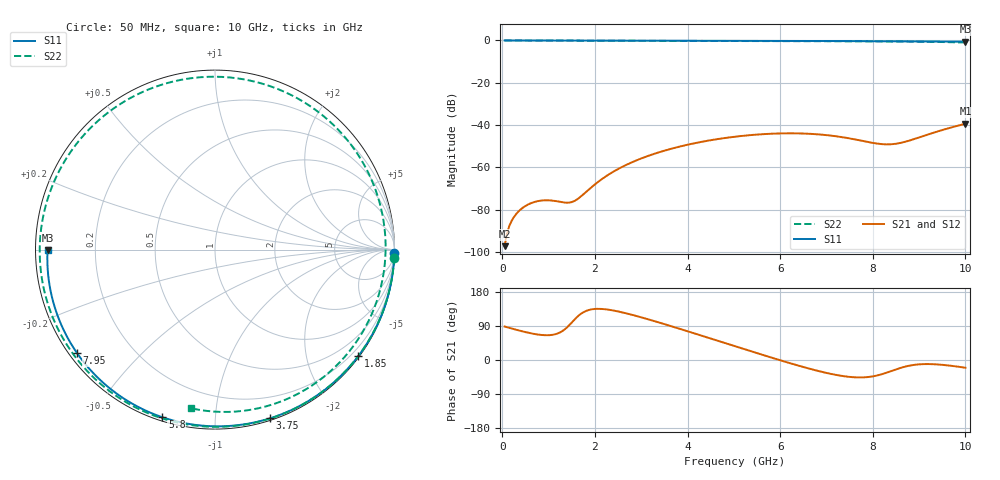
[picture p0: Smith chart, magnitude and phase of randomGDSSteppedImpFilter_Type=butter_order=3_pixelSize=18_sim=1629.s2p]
! freq	dB(S11)	phase(S11)	dB(S12)	phase(S12)
!  dB(S21)	phase(S21)	dB(S22)	phase(S22)
!S-par simulation data
#  GHz  S  DB  R 50
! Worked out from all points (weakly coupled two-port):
!   200 points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, 50 MHz to 10 GHz, reference 50 ohm
!   highest |S21| = -39.41 dB at 10 GHz (marker M1); lowest = -97.3 dB at 50 MHz (marker M2)
!   lowest |S11| = -0.6 dB at 10 GHz (marker M3), VSWR 28.86, Z = 1.73 - j0.0575 ohm
!   |S11| at or under -10 dB: nowhere
!   |S22| runs from -1.0 to 0.0 dB; largest |S21 - S12| = 0
!   S11 on the Smith chart (normalised r, x): 50 MHz: open; 1.85 GHz: 0.03, -3.03; 3.75 GHz: 0.02, -1.38; 5.8 GHz: 0.02, -0.73; 7.95 GHz: 0.02, -0.33; 10 GHz: 0.03, -0.00
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0.05  -0.00 -1.0  -97.31 88.3  -97.31 88.3  -0.00 -2.5
0.4  -0.01 -8.0  -79.87 76.7  -79.87 76.7  -0.03 -20.0
0.65  -0.02 -13.0  -76.73 69.7  -76.73 69.7  -0.04 -32.4
0.95  -0.02 -19.0  -75.59 65.3  -75.59 65.3  -0.06 -47.0
1.45  -0.04 -28.8  -76.70 92.4  -76.70 92.4  -0.09 -70.5
1.75  -0.04 -34.6  -72.81 125.9  -72.81 125.9  -0.10 -84.1
1.85  -0.05 -36.6  -70.87 131.3  -70.87 131.3  -0.11 -88.6
2.5  -0.06 -48.9  -60.83 128.1  -60.83 128.1  -0.14 -116.4
3.4  -0.09 -65.6  -52.79 98.4  -52.79 98.4  -0.17 -152.9
3.75  -0.10 -72.0  -50.64 85.4  -50.64 85.4  -0.19 -166.8
4.4  -0.12 -83.5  -47.56 60.6  -47.56 60.6  -0.22 167.3
5.05  -0.15 -94.7  -45.46 35.5  -45.46 35.5  -0.26 140.6
5.8  -0.18 -107.4  -44.13 6.8  -44.13 6.8  -0.30 108.1
6.25  -0.21 -114.9  -43.92 -9.8  -43.92 -9.8  -0.33 87.6
6.7  -0.24 -122.4  -44.23 -25.1  -44.23 -25.1  -0.35 66.2
7.35  -0.29 -133.2  -45.78 -42.3  -45.78 -42.3  -0.39 34.5
7.95  -0.35 -143.3  -48.26 -44.2  -48.26 -44.2  -0.43 4.8
8.35  -0.39 -150.0  -49.15 -31.3  -49.15 -31.3  -0.48 -15.0
8.8  -0.44 -157.8  -47.29 -14.7  -47.29 -14.7  -0.55 -37.1
9.25  -0.50 -165.9  -44.08 -10.8  -44.08 -10.8  -0.66 -59.5
9.65  -0.55 -173.2  -41.43 -14.6  -41.43 -14.6  -0.80 -79.8
10  -0.60 -179.9  -39.41 -20.5  -39.41 -20.5  -0.97 -98.6
